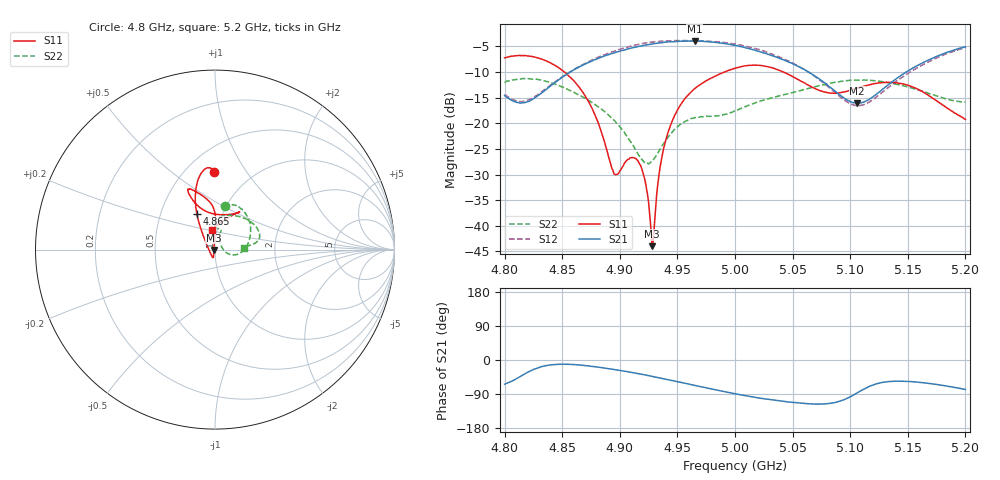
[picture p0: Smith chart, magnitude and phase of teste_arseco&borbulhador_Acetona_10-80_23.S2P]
! Network Analyzer HP8722D
! Hewlett-Packard
! Data name: Linha & Wilkinson
! Saver's name: Rodrigo Anjos
! Comments: Teste da utilização de aquisição
! continua pelo VNA HP8722D
! Time and date: 25/4/2025 15:27
!  Frequency  S11  S21  S12  S22
# HZ  S  MA R 50
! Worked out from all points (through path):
!   401 points, 4.8 GHz to 5.2 GHz, reference 50 ohm
!   highest |S21| = -3.96 dB at 4.965 GHz (marker M1); lowest = -16.1 dB at 5.106 GHz (marker M2)
!   lowest |S11| = -44.0 dB at 4.928 GHz (marker M3), VSWR 1.01, Z = 49.4 - j0.179 ohm
!   |S11| at or under -10 dB: 4.852 GHz to 4.991 GHz (139.2 MHz wide, 2.83 % of centre); 5.042 GHz to end of sweep
!   |S22| runs from -28.0 to -11.3 dB; largest |S21 - S12| = 1.2
!   S11 on the Smith chart (normalised r, x): 4.8 GHz: 0.68, +0.73; 4.865 GHz: 0.76, +0.32; 5.2 GHz: 0.94, +0.20
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4.8e9  0.4342 90.5  0.1857 -63.9  0.1909 69.7  0.2479 77.2
4.82e9  0.4527 96.7  0.1619 -32.4  0.1675 98.3  0.2716 61.7
4.845e9  0.359 107.1  0.256 -11.4  0.2593 119.4  0.2379 34.1
4.865e9  0.2225 116.9  0.3548 -13.2  0.3593 120.8  0.1879 10.7
4.867e9  0.2068 118.0  0.3643 -13.9  0.3685 120.5  0.1826 8.5
4.88e9  0.1095 128.3  0.4239 -18.5  0.434 118.1  0.1483 -5.6
4.895e9  0.03204 -171.1  0.4865 -25.2  0.5023 113.7  0.1071 -16.3
4.909e9  0.04604 -106.4  0.5358 -32.2  0.563 107.6  0.06702 -15.0
4.917e9  0.04038 -102.1  0.5637 -36.5  0.5901 103.4  0.04784 -2.1
4.923e9  0.02374 -107.3  0.5796 -39.8  0.6075 99.9  0.04045 19.6
4.928e9  0.006334 -163.4  0.592 -43.0  0.6187 96.9  0.04264 41.0
4.93e9  0.01014 125.6  0.5977 -44.3  0.6212 95.7  0.04576 48.5
4.934e9  0.03142 99.3  0.6054 -46.7  0.6292 93.2  0.05358 59.1
4.939e9  0.06256 92.5  0.6162 -49.9  0.6354 90.1  0.06581 66.4
4.946e9  0.1085 89.6  0.6235 -54.6  0.6396 85.5  0.08346 70.9
4.965e9  0.2169 90.8  0.6339 -67.0  0.6397 73.4  0.1135 72.3
5e9  0.344 109.0  0.5738 -89.1  0.5929 50.7  0.1325 88.6
5.03e9  0.3527 115.0  0.4654 -104.3  0.4821 33.8  0.1743 85.4
5.067e9  0.2245 104.9  0.3015 -116.1  0.2986 23.6  0.2223 57.2
5.106e9  0.2194 64.1  0.1565 -87.0  0.1486 56.0  0.2635 24.8
5.134e9  0.2501 56.7  0.2415 -56.8  0.2273 88.6  0.2482 12.3
5.2e9  0.1093 100.2  0.5557 -77.7  0.5464 70.1  0.1604 3.9
